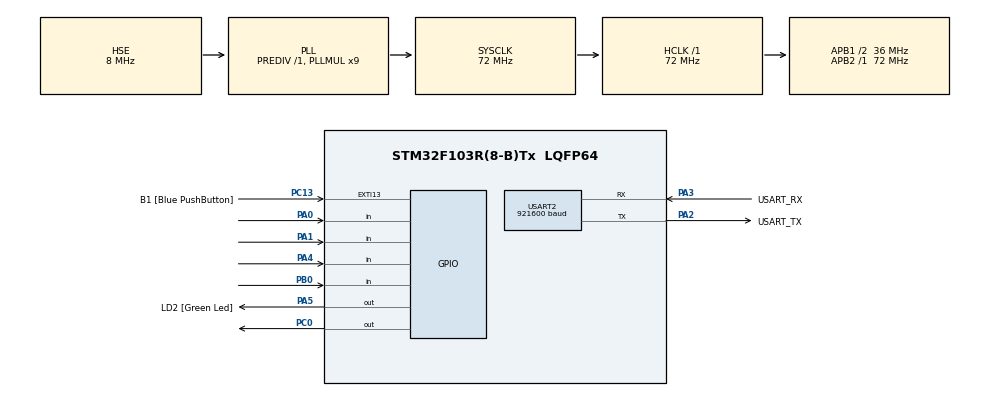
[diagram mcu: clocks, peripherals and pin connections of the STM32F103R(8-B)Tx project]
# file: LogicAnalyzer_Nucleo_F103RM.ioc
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Dma.Request0=USART2_TX
Dma.USART2_TX.0.Direction=DMA_MEMORY_TO_PERIPH
Dma.USART2_TX.0.Instance=DMA1_Channel7
Dma.USART2_TX.0.MemDataAlignment=DMA_MDATAALIGN_BYTE
Dma.USART2_TX.0.MemInc=DMA_MINC_ENABLE
Dma.USART2_TX.0.Mode=DMA_NORMAL
Dma.USART2_TX.0.PeriphDataAlignment=DMA_PDATAALIGN_BYTE
Dma.USART2_TX.0.PeriphInc=DMA_PINC_DISABLE
Dma.USART2_TX.0.Priority=DMA_PRIORITY_LOW
Mcu.Family=STM32F1
Mcu.Name=STM32F103R(8-B)Tx
Mcu.Package=LQFP64
NVIC.DMA1_Channel7_IRQn=true\:0\:0\:false\:false\:true\:false\:true\:true
NVIC.EXTI15_10_IRQn=true\:0\:0\:false\:false\:true\:true\:true\:true
NVIC.PriorityGroup=NVIC_PRIORITYGROUP_4
NVIC.TIM2_IRQn=true\:0\:0\:false\:false\:true\:true\:true\:true
NVIC.TIM3_IRQn=true\:0\:0\:false\:false\:true\:true\:true\:true
NVIC.USART2_IRQn=true\:0\:0\:false\:false\:true\:true\:true\:true
PA0-WKUP.Signal=GPIO_Input
PA1.Signal=GPIO_Input
PA13.GPIO_Label=TMS
PA13.Mode=Serial_Wire
PA13.Signal=SYS_JTMS-SWDIO
PA14.GPIO_Label=TCK
PA14.Mode=Serial_Wire
PA14.Signal=SYS_JTCK-SWCLK
PA2.GPIO_Label=USART_TX
PA2.GPIO_Mode=GPIO_MODE_AF_PP
PA2.GPIO_PuPd=GPIO_NOPULL
PA2.GPIO_Speed=GPIO_SPEED_FREQ_LOW
PA2.Mode=Asynchronous
PA2.Signal=USART2_TX
PA3.GPIO_Label=USART_RX
PA3.GPIO_Mode=GPIO_MODE_AF_PP
PA3.GPIO_PuPd=GPIO_NOPULL
PA3.GPIO_Speed=GPIO_SPEED_FREQ_LOW
PA3.Mode=Asynchronous
PA3.Signal=USART2_RX
PA4.Signal=GPIO_Input
PA5.GPIO_Label=LD2 [Green Led]
PA5.GPIO_ModeDefaultOutputPP=GPIO_MODE_OUTPUT_PP
PA5.GPIO_PuPd=GPIO_NOPULL
PA5.GPIO_Speed=GPIO_SPEED_FREQ_LOW
PA5.Signal=GPIO_Output
PB0.Signal=GPIO_Input
PB3.GPIO_Label=SWO
PB3.Signal=SYS_JTDO-TRACESWO
PC0.Signal=GPIO_Output
PC13-TAMPER-RTC.GPIO_Label=B1 [Blue PushButton]
PC13-TAMPER-RTC.GPIO_PuPd=GPIO_NOPULL
PC13-TAMPER-RTC.Signal=GPXTI13
PC14-OSC32_IN.Signal=RCC_OSC32_IN
PC15-OSC32_OUT.Signal=RCC_OSC32_OUT
PD0-OSC_IN.Mode=HSE-External-Oscillator
PD0-OSC_IN.Signal=RCC_OSC_IN
PD1-OSC_OUT.Mode=HSE-External-Oscillator
PD1-OSC_OUT.Signal=RCC_OSC_OUT
ProjectManager.HeapSize=0x200
ProjectManager.StackSize=0x400
ProjectManager.TargetToolchain=STM32CubeIDE
RCC.AHBFreq_Value=72000000
RCC.APB1CLKDivider=RCC_HCLK_DIV2
RCC.APB1Freq_Value=36000000
RCC.APB1TimFreq_Value=72000000
RCC.APB2Freq_Value=72000000
RCC.APB2TimFreq_Value=72000000
RCC.HCLKFreq_Value=72000000
RCC.PLLMUL=RCC_PLL_MUL9
RCC.PLLSourceVirtual=RCC_PLLSOURCE_HSE
RCC.RTCClockSelection=RCC_RTCCLKSOURCE_LSE
RCC.SYSCLKFreq_VALUE=72000000
RCC.SYSCLKSource=RCC_SYSCLKSOURCE_PLLCLK
RCC.USBFreq_Value=72000000
TIM2.Period=11
TIM2.Prescaler=71
TIM3.Period=12
TIM3.Prescaler=360-1
USART2.BaudRate=921600
USART2.VirtualMode=VM_ASYNC
VP_TIM2_VS_ClockSourceINT.Mode=Internal
VP_TIM3_VS_ClockSourceINT.Mode=Internal
board=NUCLEO-F103RB

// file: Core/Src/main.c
/* USER CODE BEGIN Header */
/**
  ******************************************************************************
  * @file           : main.c
  * @brief          : Main program body
  ******************************************************************************
  * @attention
  *
  * Copyright (c) 2025 STMicroelectronics.
  * All rights reserved.
  *
  * This software is licensed under terms that can be found in the LICENSE file
  * in the root directory of this software component.
  * If no LICENSE file comes with this software, it is provided AS-IS.
  *
  ******************************************************************************
  */
/* USER CODE END Header */
#include "main.h"

/* USER CODE BEGIN Includes */
#include <string.h>
/* USER CODE END Includes */

/* USER CODE BEGIN PD */
#define SAMPLE_COUNT 1000
/* USER CODE END PD */

TIM_HandleTypeDef htim2;
TIM_HandleTypeDef htim3;

UART_HandleTypeDef huart2;
DMA_HandleTypeDef hdma_usart2_tx;

/* USER CODE BEGIN PV */
uint8_t samples[SAMPLE_COUNT];
volatile uint16_t sample_index = 0;
volatile uint8_t sampling_done = 0;
volatile uint8_t uart_tx_done = 1;
uint8_t marker = 0xAA;

volatile uint8_t buffer1[SAMPLE_COUNT];
volatile uint8_t buffer2[SAMPLE_COUNT];
volatile uint8_t* current_buffer = buffer1;

static uint8_t tx_packet[SAMPLE_COUNT + 1];

/* USER CODE END PV */

void SystemClock_Config(void);
static void MX_GPIO_Init(void);
static void MX_DMA_Init(void);
static void MX_USART2_UART_Init(void);
static void MX_TIM2_Init(void);
static void MX_TIM3_Init(void);

/* USER CODE BEGIN 0 */

//void TIM2_IRQHandler(void)
//{
//  HAL_TIM_IRQHandler(&htim2);
//}

/* USER CODE END 0 */

int main(void)
{

  /* MCU Configuration--------------------------------------------------------*/

  /* Reset of all peripherals, Initializes the Flash interface and the Systick. */
  HAL_Init();

  /* Configure the system clock */
  SystemClock_Config();

  /* Initialize all configured peripherals */
  MX_GPIO_Init();
  MX_DMA_Init();
  MX_USART2_UART_Init();
  MX_TIM2_Init();
  MX_TIM3_Init();
  /* USER CODE BEGIN 2 */

  HAL_TIM_Base_Start_IT(&htim2);  // Sampling Timer
  HAL_TIM_Base_Start_IT(&htim3);  // Timer3 for generating test frequency

  /* USER CODE END 2 */

  /* Infinite loop */
  while (1)
  {

    /* USER CODE BEGIN 3 */
	  while (!sampling_done);  // Wait until sampling completes
	  sampling_done = 0;
  }
  /* USER CODE END 3 */
}

void SystemClock_Config(void)
{
  RCC_OscInitTypeDef RCC_OscInitStruct = {0};
  RCC_ClkInitTypeDef RCC_ClkInitStruct = {0};

  /** Initializes the RCC Oscillators according to the specified parameters
  * in the RCC_OscInitTypeDef structure.
  */
  RCC_OscInitStruct.OscillatorType = RCC_OSCILLATORTYPE_HSE;
  RCC_OscInitStruct.HSEState = RCC_HSE_ON;
  RCC_OscInitStruct.HSEPredivValue = RCC_HSE_PREDIV_DIV1;
  RCC_OscInitStruct.HSIState = RCC_HSI_ON;
  RCC_OscInitStruct.PLL.PLLState = RCC_PLL_ON;
  RCC_OscInitStruct.PLL.PLLSource = RCC_PLLSOURCE_HSE;
  RCC_OscInitStruct.PLL.PLLMUL = RCC_PLL_MUL9;
  if (HAL_RCC_OscConfig(&RCC_OscInitStruct) != HAL_OK)
  {
    Error_Handler();
  }

  /** Initializes the CPU, AHB and APB buses clocks
  */
  RCC_ClkInitStruct.ClockType = RCC_CLOCKTYPE_HCLK|RCC_CLOCKTYPE_SYSCLK
                              |RCC_CLOCKTYPE_PCLK1|RCC_CLOCKTYPE_PCLK2;
  RCC_ClkInitStruct.SYSCLKSource = RCC_SYSCLKSOURCE_PLLCLK;
  RCC_ClkInitStruct.AHBCLKDivider = RCC_SYSCLK_DIV1;
  RCC_ClkInitStruct.APB1CLKDivider = RCC_HCLK_DIV2;
  RCC_ClkInitStruct.APB2CLKDivider = RCC_HCLK_DIV1;

  if (HAL_RCC_ClockConfig(&RCC_ClkInitStruct, FLASH_LATENCY_2) != HAL_OK)
  {
    Error_Handler();
  }
}

static void MX_TIM2_Init(void)
{

  TIM_ClockConfigTypeDef sClockSourceConfig = {0};
  TIM_MasterConfigTypeDef sMasterConfig = {0};

  htim2.Instance = TIM2;
  htim2.Init.Prescaler = 71;
  htim2.Init.CounterMode = TIM_COUNTERMODE_UP;
  htim2.Init.Period = 11;
  htim2.Init.ClockDivision = TIM_CLOCKDIVISION_DIV1;
  htim2.Init.AutoReloadPreload = TIM_AUTORELOAD_PRELOAD_DISABLE;
  if (HAL_TIM_Base_Init(&htim2) != HAL_OK)
  {
    Error_Handler();
  }
  sClockSourceConfig.ClockSource = TIM_CLOCKSOURCE_INTERNAL;
  if (HAL_TIM_ConfigClockSource(&htim2, &sClockSourceConfig) != HAL_OK)
  {
    Error_Handler();
  }
  sMasterConfig.MasterOutputTrigger = TIM_TRGO_RESET;
  sMasterConfig.MasterSlaveMode = TIM_MASTERSLAVEMODE_DISABLE;
  if (HAL_TIMEx_MasterConfigSynchronization(&htim2, &sMasterConfig) != HAL_OK)
  {
    Error_Handler();
  }
  /* USER CODE BEGIN TIM2_Init 2 */

//  HAL_NVIC_SetPriority(TIM2_IRQn, 0, 0);
//  HAL_NVIC_EnableIRQ(TIM2_IRQn);

  /* USER CODE END TIM2_Init 2 */

}

static void MX_TIM3_Init(void)
{

  TIM_ClockConfigTypeDef sClockSourceConfig = {0};
  TIM_MasterConfigTypeDef sMasterConfig = {0};

  htim3.Instance = TIM3;
  htim3.Init.Prescaler = 360-1;
  htim3.Init.CounterMode = TIM_COUNTERMODE_UP;
  htim3.Init.Period = 12;
  htim3.Init.ClockDivision = TIM_CLOCKDIVISION_DIV1;
  htim3.Init.AutoReloadPreload = TIM_AUTORELOAD_PRELOAD_DISABLE;
  if (HAL_TIM_Base_Init(&htim3) != HAL_OK)
  {
    Error_Handler();
  }
  sClockSourceConfig.ClockSource = TIM_CLOCKSOURCE_INTERNAL;
  if (HAL_TIM_ConfigClockSource(&htim3, &sClockSourceConfig) != HAL_OK)
  {
    Error_Handler();
  }
  sMasterConfig.MasterOutputTrigger = TIM_TRGO_RESET;
  sMasterConfig.MasterSlaveMode = TIM_MASTERSLAVEMODE_DISABLE;
  if (HAL_TIMEx_MasterConfigSynchronization(&htim3, &sMasterConfig) != HAL_OK)
  {
    Error_Handler();
  }

}

static void MX_USART2_UART_Init(void)
{

  huart2.Instance = USART2;
  huart2.Init.BaudRate = 921600;
  huart2.Init.WordLength = UART_WORDLENGTH_8B;
  huart2.Init.StopBits = UART_STOPBITS_1;
  huart2.Init.Parity = UART_PARITY_NONE;
  huart2.Init.Mode = UART_MODE_TX_RX;
  huart2.Init.HwFlowCtl = UART_HWCONTROL_NONE;
  huart2.Init.OverSampling = UART_OVERSAMPLING_16;
  if (HAL_UART_Init(&huart2) != HAL_OK)
  {
    Error_Handler();
  }
  /* USER CODE BEGIN USART2_Init 2 */

  __HAL_LINKDMA(&huart2, hdmatx, hdma_usart2_tx);  // ✅ Link DMA to UART

  /* USER CODE END USART2_Init 2 */

}

static void MX_DMA_Init(void)
{

  /* DMA controller clock enable */
  __HAL_RCC_DMA1_CLK_ENABLE();

  /* DMA interrupt init */
  /* DMA1_Channel7_IRQn interrupt configuration */
  HAL_NVIC_SetPriority(DMA1_Channel7_IRQn, 0, 0);
  HAL_NVIC_EnableIRQ(DMA1_Channel7_IRQn);

}

static void MX_GPIO_Init(void)
{
  GPIO_InitTypeDef GPIO_InitStruct = {0};

  /* GPIO Ports Clock Enable */
  __HAL_RCC_GPIOC_CLK_ENABLE();
  __HAL_RCC_GPIOD_CLK_ENABLE();
  __HAL_RCC_GPIOA_CLK_ENABLE();
  __HAL_RCC_GPIOB_CLK_ENABLE();

  /*Configure GPIO pin Output Level */
  HAL_GPIO_WritePin(GPIOC, GPIO_PIN_0, GPIO_PIN_RESET);

  /*Configure GPIO pin Output Level */
  HAL_GPIO_WritePin(LD2_GPIO_Port, LD2_Pin, GPIO_PIN_RESET);

  /*Configure GPIO pin : B1_Pin */
  GPIO_InitStruct.Pin = B1_Pin;
  GPIO_InitStruct.Mode = GPIO_MODE_IT_RISING;
  GPIO_InitStruct.Pull = GPIO_NOPULL;
  HAL_GPIO_Init(B1_GPIO_Port, &GPIO_InitStruct);

  /*Configure GPIO pin : PC0 */
  GPIO_InitStruct.Pin = GPIO_PIN_0;
  GPIO_InitStruct.Mode = GPIO_MODE_OUTPUT_PP;
  GPIO_InitStruct.Pull = GPIO_NOPULL;
  GPIO_InitStruct.Speed = GPIO_SPEED_FREQ_LOW;
  HAL_GPIO_Init(GPIOC, &GPIO_InitStruct);

  /*Configure GPIO pins : PA0 PA1 PA4 */
  GPIO_InitStruct.Pin = GPIO_PIN_0|GPIO_PIN_1|GPIO_PIN_4;
  GPIO_InitStruct.Mode = GPIO_MODE_INPUT;
  GPIO_InitStruct.Pull = GPIO_NOPULL;
  HAL_GPIO_Init(GPIOA, &GPIO_InitStruct);

  /*Configure GPIO pin : LD2_Pin */
  GPIO_InitStruct.Pin = LD2_Pin;
  GPIO_InitStruct.Mode = GPIO_MODE_OUTPUT_PP;
  GPIO_InitStruct.Pull = GPIO_NOPULL;
  GPIO_InitStruct.Speed = GPIO_SPEED_FREQ_LOW;
  HAL_GPIO_Init(LD2_GPIO_Port, &GPIO_InitStruct);

  /*Configure GPIO pin : PB0 */
  GPIO_InitStruct.Pin = GPIO_PIN_0;
  GPIO_InitStruct.Mode = GPIO_MODE_INPUT;
  GPIO_InitStruct.Pull = GPIO_NOPULL;
  HAL_GPIO_Init(GPIOB, &GPIO_InitStruct);

  /* EXTI interrupt init*/
  HAL_NVIC_SetPriority(EXTI15_10_IRQn, 0, 0);
  HAL_NVIC_EnableIRQ(EXTI15_10_IRQn);

}

/* USER CODE BEGIN 4 */
// Called every 1 us by TIM2
void HAL_TIM_PeriodElapsedCallback(TIM_HandleTypeDef *htim)
{
  if (htim->Instance == TIM2) {
    if (sample_index < SAMPLE_COUNT) {
      if (!uart_tx_done) return;  // prevent overwriting tx_buffer during DMA send
      // Read 4 input bits from PA0, PA1, PA4, PB0
      uint8_t bit0 = HAL_GPIO_ReadPin(GPIOA, GPIO_PIN_0);
      uint8_t bit1 = HAL_GPIO_ReadPin(GPIOA, GPIO_PIN_1);
      uint8_t bit2 = HAL_GPIO_ReadPin(GPIOA, GPIO_PIN_4);
      uint8_t bit3 = HAL_GPIO_ReadPin(GPIOB, GPIO_PIN_0);
      uint8_t packed = (bit0 << 0) | (bit1 << 1) | (bit2 << 2) | (bit3 << 3);
      current_buffer[sample_index++] = packed;
    } else {
      sampling_done = 1;
      sample_index = 0;

      if (uart_tx_done) {
          tx_packet[0] = marker;
          memcpy(&tx_packet[1], (const void*)current_buffer, SAMPLE_COUNT);
          current_buffer = (current_buffer == buffer1) ? buffer2 : buffer1;
          uart_tx_done = 0;
          HAL_UART_Transmit_DMA(&huart2, tx_packet, SAMPLE_COUNT + 1);
      }
    }
  }

  if(htim->Instance == TIM3) {
	  static uint8_t state = 0;
	  if (state == 0)
	      HAL_GPIO_WritePin(GPIOC, GPIO_PIN_0, GPIO_PIN_SET);
	  else
	      HAL_GPIO_WritePin(GPIOC, GPIO_PIN_0, GPIO_PIN_RESET);
	  state ^= 1;
    }
}

void HAL_UART_TxCpltCallback(UART_HandleTypeDef *huart)
{
  if (huart->Instance == USART2)
  {
    uart_tx_done = 1;
  }
}
/* USER CODE END 4 */

void Error_Handler(void)
{
  __disable_irq();
  while (1)
  {
  }
}
